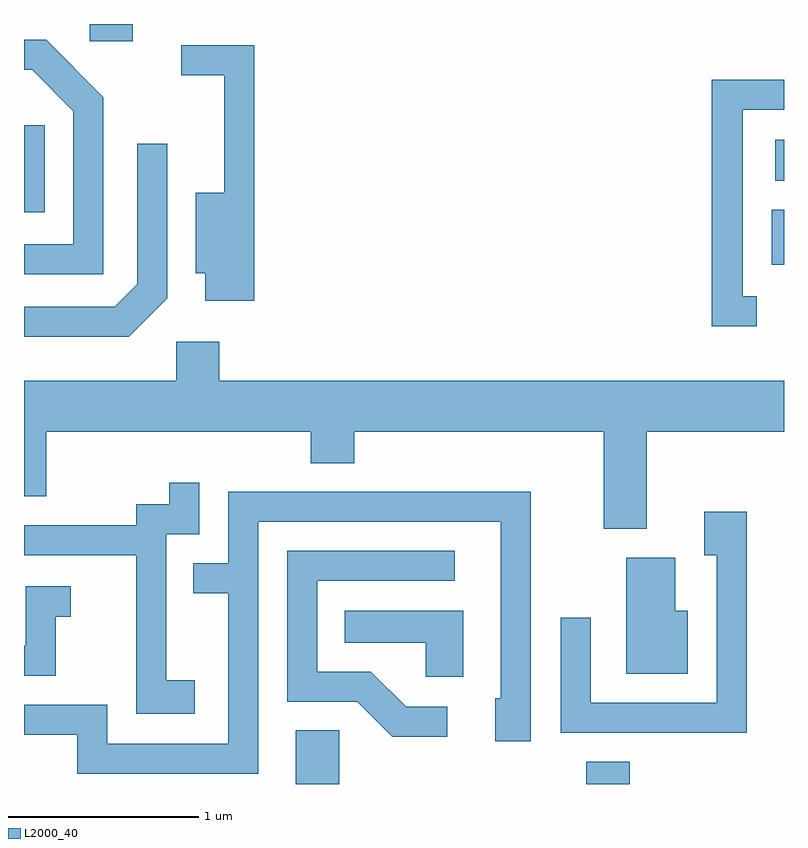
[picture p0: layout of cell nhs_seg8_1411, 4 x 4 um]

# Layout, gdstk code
import gdstk
lib = gdstk.Library(unit=1e-6, precision=1e-09)
def R(c, l, rs):  # rectangles x0, y0, x1, y1
    for r in rs: c.add(gdstk.rectangle(r[:2], r[2:], *l))
def P(c, l, *ps):  # polygons
    for p in ps: c.add(gdstk.Polygon(p, *l))
L2000_40 = (2000, 40)

nhs_seg8_1411 = lib.new_cell('nhs_seg8_1411')
R(nhs_seg8_1411, L2000_40, [(229.041,1832.342,229.269,1832.624), (230.571,1832.342,230.799,1832.459), (231.546,1835.076,231.611,1835.364), (227.611,1835.351,227.719,1835.809), (231.566,1835.516,231.611,1835.734), (227.956,1836.251,228.184,1836.342)])
P(nhs_seg8_1411, L2000_40, [(228.029,1835.957),(227.727,1836.259),(227.611,1836.259),(227.611,1836.101),(227.654,1836.101),(227.871,1835.884),(227.871,1835.184),(227.611,1835.184),(227.611,1835.026),(228.029,1835.026)],
  [(228.824,1836.229),(228.438,1836.229),(228.438,1836.071),(228.666,1836.071),(228.666,1835.454),(228.516,1835.454),(228.516,1835.031),(228.566,1835.031),(228.566,1834.886),(228.824,1834.886)],
  [(231.468,1834.909),(231.394,1834.909),(231.394,1835.891),(231.611,1835.891),(231.611,1836.049),(231.231,1836.049),(231.231,1834.751),(231.468,1834.751)],
  [(228.364,1834.899),(228.364,1835.713),(228.206,1835.713),(228.206,1834.972),(228.089,1834.854),(227.611,1834.854),(227.611,1834.696),(228.162,1834.696)],
  [(230.889,1834.196),(231.611,1834.196),(231.611,1834.464),(228.639,1834.464),(228.639,1834.669),(228.411,1834.669),(228.411,1834.464),(227.611,1834.464),(227.611,1833.856),(227.729,1833.856),(227.729,1834.196),(229.121,1834.196),(229.121,1834.031),(229.349,1834.031),(229.349,1834.196),(230.661,1834.196),(230.661,1833.686),(230.889,1833.686)],
  [(228.509,1832.889),(228.359,1832.889),(228.359,1833.656),(228.534,1833.656),(228.534,1833.928),(228.376,1833.928),(228.376,1833.814),(228.201,1833.814),(228.201,1833.704),(227.611,1833.704),(227.611,1833.546),(228.201,1833.546),(228.201,1832.711),(228.509,1832.711)],
  [(228.844,1833.721),(230.121,1833.721),(230.121,1832.794),(230.091,1832.794),(230.091,1832.566),(230.279,1832.566),(230.279,1833.879),(228.686,1833.879),(228.686,1833.504),(228.503,1833.504),(228.503,1833.346),(228.686,1833.346),(228.686,1832.554),(228.049,1832.554),(228.049,1832.759),(227.611,1832.759),(227.611,1832.601),(227.891,1832.601),(227.891,1832.396),(228.844,1832.396)],
  [(231.414,1833.774),(231.191,1833.774),(231.191,1833.546),(231.256,1833.546),(231.256,1832.769),(230.594,1832.769),(230.594,1833.218),(230.436,1833.218),(230.436,1832.611),(231.414,1832.611)],
  [(229.838,1832.749),(229.622,1832.749),(229.437,1832.934),(229.154,1832.934),(229.154,1833.411),(229.878,1833.411),(229.878,1833.569),(228.996,1833.569),(228.996,1832.776),(229.364,1832.776),(229.549,1832.591),(229.838,1832.591)],
  [(231.104,1833.254),(231.039,1833.254),(231.039,1833.534),(230.781,1833.534),(230.781,1832.921),(231.104,1832.921)],
  [(227.779,1833.221),(227.858,1833.221),(227.858,1833.384),(227.621,1833.384),(227.621,1833.069),(227.611,1833.069),(227.611,1832.911),(227.779,1832.911)],
  [(229.924,1833.254),(229.298,1833.254),(229.298,1833.086),(229.726,1833.086),(229.726,1832.906),(229.924,1832.906)])

lib.write_gds('nhs_seg8_1411.gds')
